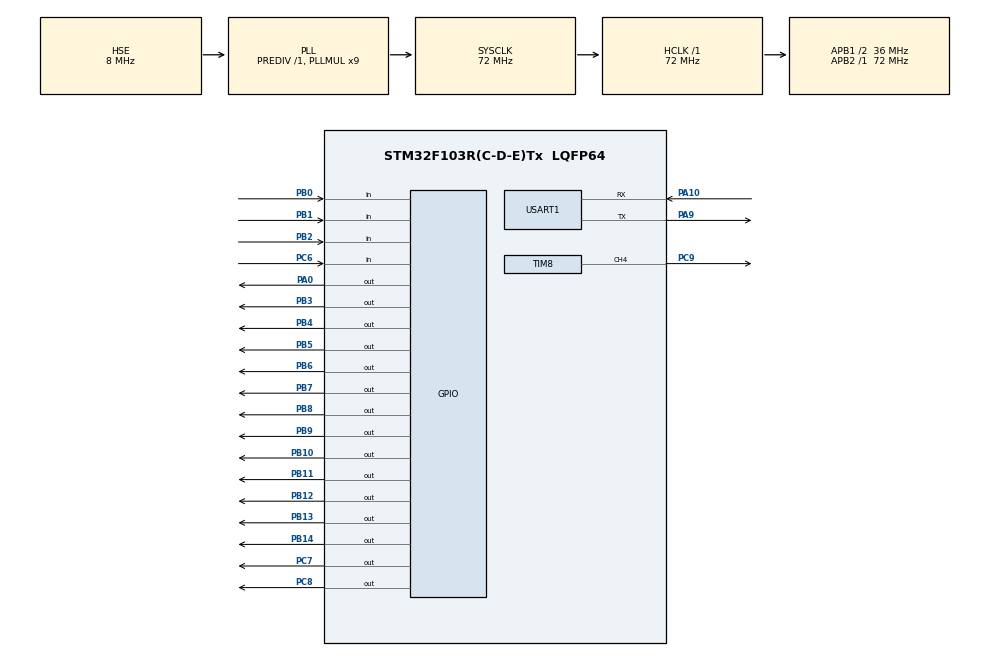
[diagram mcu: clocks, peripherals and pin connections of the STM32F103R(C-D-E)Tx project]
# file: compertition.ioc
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Mcu.Family=STM32F1
NVIC.TIM1_UP_IRQn=true\:0\:0\:false\:false\:true\:false\:false\:true
TIM8.Channel-PWM\ Generation4\ CH4=TIM_CHANNEL_4
PB11.Signal=GPIO_Output
PB13.Signal=GPIO_Output
RCC.SYSCLKSource=RCC_SYSCLKSOURCE_PLLCLK
ProjectManager.StackSize=0x400
VP_FREERTOS_VS_CMSIS_V2.Mode=CMSIS_V2
PD1-OSC_OUT.Signal=RCC_OSC_OUT
PB1.GPIO_PuPd=GPIO_PULLUP
RCC.HCLKFreq_Value=72000000
RCC.APB2TimFreq_Value=72000000
PB6.Signal=GPIO_Output
PC7.Signal=GPIO_Output
RCC.AHBFreq_Value=72000000
PA0-WKUP.GPIO_Speed=GPIO_SPEED_FREQ_HIGH
PB2.Signal=GPIO_Input
RCC.PLLMUL=RCC_PLL_MUL9
PC14-OSC32_IN.Mode=LSE-External-Oscillator
VP_SYS_VS_tim1.Mode=TIM1
PB7.Signal=GPIO_Output
PB2.GPIO_PuPd=GPIO_PULLUP
FREERTOS.configTOTAL_HEAP_SIZE=4096
Mcu.Package=LQFP64
PB9.Signal=GPIO_Output
PB1.Signal=GPIO_Input
SH.S_TIM8_CH4.0=TIM8_CH4,PWM Generation4 CH4
NVIC.TimeBase=TIM1_UP_IRQn
NVIC.TimeBaseIP=TIM1
PA10.Signal=USART1_RX
PC6.GPIO_PuPd=GPIO_PULLUP
TIM8.Prescaler=71
RCC.APB1TimFreq_Value=72000000
NVIC.USART1_IRQn=true\:0\:0\:false\:false\:true\:true\:true\:true
PB4.Signal=GPIO_Output
RCC.PLLSourceVirtual=RCC_PLLSOURCE_HSE
PC15-OSC32_OUT.Mode=LSE-External-Oscillator
FREERTOS.Tasks01=Task_center,24,128,Task_center_f,Default,NULL,Dynamic,NULL,NULL;Task_key_scan,8,128,Task_key_scan_f,Default,NULL,Dynamic,NULL,NULL;Task_NTC_scan,8,128,Task_NTC_scan_f,Default,NULL,Dynamic,NULL,NULL;Task_led,8,128,Task_led_f,Default,NULL,Dynamic,NULL,NULL;Task_display,8,128,Task_display_f,Default,NULL,Dynamic,NULL,NULL;Task_output,8,128,Task_output_f,Default,NULL,Dynamic,NULL,NULL
PD1-OSC_OUT.Mode=HSE-External-Oscillator
PA10.Mode=Asynchronous
PC8.Signal=GPIO_Output
PC6.Signal=GPIO_Input
PD0-OSC_IN.Signal=RCC_OSC_IN
RCC.APB1CLKDivider=RCC_HCLK_DIV2
PC14-OSC32_IN.Signal=RCC_OSC32_IN
VP_SYS_VS_ND.Mode=No_Debug
PA0-WKUP.Signal=GPIO_Output
RCC.ADCPresc=RCC_ADCPCLK2_DIV6
PA9.Mode=Asynchronous
ProjectManager.TargetToolchain=MDK-ARM V5.27
PA9.Signal=USART1_TX
RCC.USBFreq_Value=72000000
PC15-OSC32_OUT.Signal=RCC_OSC32_OUT
PD0-OSC_IN.Mode=HSE-External-Oscillator
PB10.Signal=GPIO_Output
PB14.Signal=GPIO_Output
board=custom
RCC.APB2Freq_Value=72000000
Mcu.Name=STM32F103R(C-D-E)Tx
TIM8.Period=999
PB3.Signal=GPIO_Output
RCC.SYSCLKFreq_VALUE=72000000
PB5.Signal=GPIO_Output
USART1.VirtualMode=VM_ASYNC
ProjectManager.HeapSize=0x200
NVIC.PriorityGroup=NVIC_PRIORITYGROUP_4
PB8.Signal=GPIO_Output
PA0-WKUP.GPIO_PuPd=GPIO_PULLUP
PC9.Signal=S_TIM8_CH4
RCC.APB1Freq_Value=36000000
PB0.Signal=GPIO_Input
PB12.Signal=GPIO_Output
PB0.GPIO_PuPd=GPIO_PULLUP

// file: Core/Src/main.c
/* USER CODE BEGIN Header */
/**
 ******************************************************************************
 * @file           : main.c
 * @brief          : Main program body
 ******************************************************************************
 * @attention
 *
 * <h2><center>&copy; Copyright (c) 2020 STMicroelectronics.
 * All rights reserved.</center></h2>
 *
 * This software component is licensed by ST under Ultimate Liberty license
 * SLA0044, the "License"; You may not use this file except in compliance with
 * the License. You may obtain a copy of the License at:
 *                             www.st.com/SLA0044
 *
 ******************************************************************************
 */
/* USER CODE END Header */
#include "main.h"

#include "cmsis_os.h"
#include "delay.h"
#include "display.h"
#include "ds18b20.h"
#include "stdio.h"

/* USER CODE BEGIN PD */
//#define DEBUG
/* USER CODE END PD */

TIM_HandleTypeDef htim8;

UART_HandleTypeDef huart1;

/* Definitions for Task_center */
osThreadId_t Task_centerHandle;
const osThreadAttr_t Task_center_attributes = {
    .name = "Task_center",
    .priority = (osPriority_t)osPriorityNormal,
    .stack_size = 128 * 4};
/* Definitions for Task_key_scan */
osThreadId_t Task_key_scanHandle;
const osThreadAttr_t Task_key_scan_attributes = {
    .name = "Task_key_scan",
    .priority = (osPriority_t)osPriorityLow,
    .stack_size = 128 * 4};
/* Definitions for Task_NTC_scan */
osThreadId_t Task_NTC_scanHandle;
const osThreadAttr_t Task_NTC_scan_attributes = {
    .name = "Task_NTC_scan",
    .priority = (osPriority_t)osPriorityLow,
    .stack_size = 128 * 4};
/* Definitions for Task_led */
osThreadId_t Task_ledHandle;
const osThreadAttr_t Task_led_attributes = {
    .name = "Task_led",
    .priority = (osPriority_t)osPriorityLow,
    .stack_size = 128 * 4};
/* Definitions for Task_display */
osThreadId_t Task_displayHandle;
const osThreadAttr_t Task_display_attributes = {
    .name = "Task_display",
    .priority = (osPriority_t)osPriorityLow,
    .stack_size = 128 * 4};
/* Definitions for Task_output */
osThreadId_t Task_outputHandle;
const osThreadAttr_t Task_output_attributes = {
    .name = "Task_output",
    .priority = (osPriority_t)osPriorityLow,
    .stack_size = 128 * 4};

void SystemClock_Config(void);
static void MX_GPIO_Init(void);
static void MX_USART1_UART_Init(void);
static void MX_TIM8_Init(void);
void Task_center_f(void *argument);
void Task_key_scan_f(void *argument);
void Task_NTC_scan_f(void *argument);
void Task_led_f(void *argument);
void Task_display_f(void *argument);
void Task_output_f(void *argument);

#ifdef DEBUG
int fputc(int ch, FILE *f) {
  uint8_t temp[1] = {ch};
  HAL_UART_Transmit(&huart1, temp, 1, 2);
  return 0;
}
#endif
int main(void) {

  /* MCU Configuration--------------------------------------------------------*/

  /* Reset of all peripherals, Initializes the Flash interface and the Systick.
   */
  HAL_Init();

  /* Configure the system clock */
  SystemClock_Config();

  /* Initialize all configured peripherals */
  MX_GPIO_Init();
  MX_USART1_UART_Init();
  MX_TIM8_Init();

  /* Init scheduler */
  osKernelInitialize();

  /* Create the thread(s) */
  /* creation of Task_center */
  Task_centerHandle = osThreadNew(Task_center_f, NULL, &Task_center_attributes);

  /* creation of Task_key_scan */
  Task_key_scanHandle =
      osThreadNew(Task_key_scan_f, NULL, &Task_key_scan_attributes);

  /* creation of Task_NTC_scan */
  Task_NTC_scanHandle =
      osThreadNew(Task_NTC_scan_f, NULL, &Task_NTC_scan_attributes);

  /* creation of Task_led */
  Task_ledHandle = osThreadNew(Task_led_f, NULL, &Task_led_attributes);

  /* creation of Task_display */
  Task_displayHandle =
      osThreadNew(Task_display_f, NULL, &Task_display_attributes);

  /* creation of Task_output */
  Task_outputHandle = osThreadNew(Task_output_f, NULL, &Task_output_attributes);

  /* Start scheduler */
  osKernelStart();

  /* We should never get here as control is now taken by the scheduler */
  /* Infinite loop */
  while (1) {

  }
}

void SystemClock_Config(void) {
  RCC_OscInitTypeDef RCC_OscInitStruct = {0};
  RCC_ClkInitTypeDef RCC_ClkInitStruct = {0};

  /** Initializes the RCC Oscillators according to the specified parameters
   * in the RCC_OscInitTypeDef structure.
   */
  RCC_OscInitStruct.OscillatorType = RCC_OSCILLATORTYPE_HSE;
  RCC_OscInitStruct.HSEState = RCC_HSE_ON;
  RCC_OscInitStruct.HSEPredivValue = RCC_HSE_PREDIV_DIV1;
  RCC_OscInitStruct.HSIState = RCC_HSI_ON;
  RCC_OscInitStruct.PLL.PLLState = RCC_PLL_ON;
  RCC_OscInitStruct.PLL.PLLSource = RCC_PLLSOURCE_HSE;
  RCC_OscInitStruct.PLL.PLLMUL = RCC_PLL_MUL9;
  if (HAL_RCC_OscConfig(&RCC_OscInitStruct) != HAL_OK) {
    Error_Handler();
  }
  /** Initializes the CPU, AHB and APB buses clocks
   */
  RCC_ClkInitStruct.ClockType = RCC_CLOCKTYPE_HCLK | RCC_CLOCKTYPE_SYSCLK |
                                RCC_CLOCKTYPE_PCLK1 | RCC_CLOCKTYPE_PCLK2;
  RCC_ClkInitStruct.SYSCLKSource = RCC_SYSCLKSOURCE_PLLCLK;
  RCC_ClkInitStruct.AHBCLKDivider = RCC_SYSCLK_DIV1;
  RCC_ClkInitStruct.APB1CLKDivider = RCC_HCLK_DIV2;
  RCC_ClkInitStruct.APB2CLKDivider = RCC_HCLK_DIV1;

  if (HAL_RCC_ClockConfig(&RCC_ClkInitStruct, FLASH_LATENCY_2) != HAL_OK) {
    Error_Handler();
  }
}

static void MX_TIM8_Init(void) {

  TIM_MasterConfigTypeDef sMasterConfig = {0};
  TIM_OC_InitTypeDef sConfigOC = {0};
  TIM_BreakDeadTimeConfigTypeDef sBreakDeadTimeConfig = {0};

  htim8.Instance = TIM8;
  htim8.Init.Prescaler = 71;
  htim8.Init.CounterMode = TIM_COUNTERMODE_UP;
  htim8.Init.Period = 999;
  htim8.Init.ClockDivision = TIM_CLOCKDIVISION_DIV1;
  htim8.Init.RepetitionCounter = 0;
  htim8.Init.AutoReloadPreload = TIM_AUTORELOAD_PRELOAD_DISABLE;
  if (HAL_TIM_PWM_Init(&htim8) != HAL_OK) {
    Error_Handler();
  }
  sMasterConfig.MasterOutputTrigger = TIM_TRGO_RESET;
  sMasterConfig.MasterSlaveMode = TIM_MASTERSLAVEMODE_DISABLE;
  if (HAL_TIMEx_MasterConfigSynchronization(&htim8, &sMasterConfig) != HAL_OK) {
    Error_Handler();
  }
  sConfigOC.OCMode = TIM_OCMODE_PWM1;
  sConfigOC.Pulse = 0;
  sConfigOC.OCPolarity = TIM_OCPOLARITY_HIGH;
  sConfigOC.OCFastMode = TIM_OCFAST_DISABLE;
  sConfigOC.OCIdleState = TIM_OCIDLESTATE_RESET;
  sConfigOC.OCNIdleState = TIM_OCNIDLESTATE_RESET;
  if (HAL_TIM_PWM_ConfigChannel(&htim8, &sConfigOC, TIM_CHANNEL_4) != HAL_OK) {
    Error_Handler();
  }
  sBreakDeadTimeConfig.OffStateRunMode = TIM_OSSR_DISABLE;
  sBreakDeadTimeConfig.OffStateIDLEMode = TIM_OSSI_DISABLE;
  sBreakDeadTimeConfig.LockLevel = TIM_LOCKLEVEL_OFF;
  sBreakDeadTimeConfig.DeadTime = 0;
  sBreakDeadTimeConfig.BreakState = TIM_BREAK_DISABLE;
  sBreakDeadTimeConfig.BreakPolarity = TIM_BREAKPOLARITY_HIGH;
  sBreakDeadTimeConfig.AutomaticOutput = TIM_AUTOMATICOUTPUT_DISABLE;
  if (HAL_TIMEx_ConfigBreakDeadTime(&htim8, &sBreakDeadTimeConfig) != HAL_OK) {
    Error_Handler();
  }
  HAL_TIM_MspPostInit(&htim8);
}

static void MX_USART1_UART_Init(void) {

  huart1.Instance = USART1;
  huart1.Init.BaudRate = 115200;
  huart1.Init.WordLength = UART_WORDLENGTH_8B;
  huart1.Init.StopBits = UART_STOPBITS_1;
  huart1.Init.Parity = UART_PARITY_NONE;
  huart1.Init.Mode = UART_MODE_TX_RX;
  huart1.Init.HwFlowCtl = UART_HWCONTROL_NONE;
  huart1.Init.OverSampling = UART_OVERSAMPLING_16;
  if (HAL_UART_Init(&huart1) != HAL_OK) {
    Error_Handler();
  }
}

static void MX_GPIO_Init(void) {
  GPIO_InitTypeDef GPIO_InitStruct = {0};

  /* GPIO Ports Clock Enable */
  __HAL_RCC_GPIOC_CLK_ENABLE();
  __HAL_RCC_GPIOD_CLK_ENABLE();
  __HAL_RCC_GPIOA_CLK_ENABLE();
  __HAL_RCC_GPIOB_CLK_ENABLE();

  /*Configure GPIO pin Output Level */
  HAL_GPIO_WritePin(GPIOA, GPIO_PIN_0, GPIO_PIN_RESET);

  /*Configure GPIO pin Output Level */
  HAL_GPIO_WritePin(GPIOB,
                    GPIO_PIN_10 | GPIO_PIN_11 | GPIO_PIN_12 | GPIO_PIN_13 |
                        GPIO_PIN_14 | GPIO_PIN_3 | GPIO_PIN_4 | GPIO_PIN_5 |
                        GPIO_PIN_6 | GPIO_PIN_7 | GPIO_PIN_8 | GPIO_PIN_9,
                    GPIO_PIN_RESET);

  /*Configure GPIO pin Output Level */
  HAL_GPIO_WritePin(GPIOC, GPIO_PIN_7 | GPIO_PIN_8, GPIO_PIN_RESET);

  /*Configure GPIO pin : PA0 */
  GPIO_InitStruct.Pin = GPIO_PIN_0;
  GPIO_InitStruct.Mode = GPIO_MODE_OUTPUT_PP;
  GPIO_InitStruct.Pull = GPIO_PULLUP;
  GPIO_InitStruct.Speed = GPIO_SPEED_FREQ_HIGH;
  HAL_GPIO_Init(GPIOA, &GPIO_InitStruct);

  /*Configure GPIO pins : PB0 PB1 PB2 */
  GPIO_InitStruct.Pin = GPIO_PIN_0 | GPIO_PIN_1 | GPIO_PIN_2;
  GPIO_InitStruct.Mode = GPIO_MODE_INPUT;
  GPIO_InitStruct.Pull = GPIO_PULLUP;
  HAL_GPIO_Init(GPIOB, &GPIO_InitStruct);

  /*Configure GPIO pins : PB10 PB11 PB12 PB13
                           PB14 PB3 PB4 PB5
                           PB6 PB7 PB8 PB9 */
  GPIO_InitStruct.Pin = GPIO_PIN_10 | GPIO_PIN_11 | GPIO_PIN_12 | GPIO_PIN_13 |
                        GPIO_PIN_14 | GPIO_PIN_3 | GPIO_PIN_4 | GPIO_PIN_5 |
                        GPIO_PIN_6 | GPIO_PIN_7 | GPIO_PIN_8 | GPIO_PIN_9;
  GPIO_InitStruct.Mode = GPIO_MODE_OUTPUT_PP;
  GPIO_InitStruct.Pull = GPIO_NOPULL;
  GPIO_InitStruct.Speed = GPIO_SPEED_FREQ_LOW;
  HAL_GPIO_Init(GPIOB, &GPIO_InitStruct);

  /*Configure GPIO pin : PC6 */
  GPIO_InitStruct.Pin = GPIO_PIN_6;
  GPIO_InitStruct.Mode = GPIO_MODE_INPUT;
  GPIO_InitStruct.Pull = GPIO_PULLUP;
  HAL_GPIO_Init(GPIOC, &GPIO_InitStruct);

  /*Configure GPIO pins : PC7 PC8 */
  GPIO_InitStruct.Pin = GPIO_PIN_7 | GPIO_PIN_8;
  GPIO_InitStruct.Mode = GPIO_MODE_OUTPUT_PP;
  GPIO_InitStruct.Pull = GPIO_NOPULL;
  GPIO_InitStruct.Speed = GPIO_SPEED_FREQ_LOW;
  HAL_GPIO_Init(GPIOC, &GPIO_InitStruct);
}

data_t data;
void Task_center_f(void *argument) {
  /* USER CODE BEGIN 5 */
  osKernelLock();
#ifdef DEBUG
  printf("center initing..\r\n");
#endif
  uint32_t time = 0;
  data.mode = relax_mode;
  data.timing_mode = zero;
  data.display_mode = work;
  data.key = key_work_mode;
  data.key_sign = 0;
  osKernelUnlock();
  /* Infinite loop */
  while (1) {
#ifdef DEBUG
    if (data.timing_mode != zero) printf("%d\r\n", time / 1000);
#endif
    uint32_t tick = osKernelGetTickCount();
    if (data.timing_mode != zero && time <= 0) {
      data.timing_mode = zero;
      data.mode = relax_mode;
    }
    if (time > 0) time -= 20;
    if (data.key_sign) /* 有按键按下 */
    {
      data.key_sign = 0;
      switch (data.key) {
        case key_work_mode:
          if (data.timing_mode != zero) switch (data.mode) {
              case relax_mode:
                data.mode = sleep_mode;
                break;
              case sleep_mode:
                data.mode = nature_mode;
                break;
              case nature_mode:
                data.mode = common_mode;
                break;
              case common_mode:
                data.mode = sleep_mode;
                break;
            }
          break;
        case key_stop:
          data.mode = relax_mode;
          data.timing_mode = zero;
          break;
        case key_show:
          switch (data.display_mode) {
            case work:
              data.display_mode = temperature;
              break;
            case temperature:
              data.display_mode = work;
              break;
          }
          break;
        case key_timing_mode:
          data.display_mode = work;
          switch (data.timing_mode) {
            case zero:
              data.timing_mode = one;
              time = 1000 * 60;
              if (data.mode == relax_mode) data.mode = sleep_mode;
#ifdef DEBUG
              printf("zero\r\n");
#endif
              break;
            case one:
              data.timing_mode = two;
#ifdef DEBUG
              printf("one\r\n");
#endif
              if (data.mode == relax_mode) data.mode = sleep_mode;
              time = 2000 * 60;
              break;
            case two:
              data.timing_mode = zero;
#ifdef DEBUG
              printf("two\r\n");
#endif
              if (data.mode != relax_mode) data.mode = relax_mode;
              time = 0;
              break;
          }
          break;
      };
    }
    switch (data.mode) {
      case relax_mode:
        data.pwm = 0;
        data.led1 = 0;
        data.led2 = 0;
        data.led3 = 0;
        break;
      case sleep_mode:
        data.pwm = 200;
        data.led1 = 1;
        data.led2 = 0;
        data.led3 = 0;
        break;
      case nature_mode:
        data.pwm = 300;
        data.led1 = 0;
        data.led2 = 1;
        data.led3 = 0;
        break;
      case common_mode:
        data.pwm = 700;
        data.led1 = 0;
        data.led2 = 0;
        data.led3 = 1;
        break;
    }
    if (data.display_mode == work) {
      switch (data.mode)  //工作模式选择
      {
        case relax_mode:
          data.display.a = 'r';
          data.display.b = 'r';
          data.display.c = 'r';
          data.display.d = 'r';
          data.display.e = 'r';
          data.display.f = 'r';
          data.display.g = 'r';
          data.display.h = 'r';
          break;
        case sleep_mode:  //工作模式为睡眠风
          data.display.a = '-';
          data.display.b = '1';
          data.display.c = '-';
          data.display.d = 'r';
          data.display.e = '0';
          data.display.f = ((time / 100000) % 10) + 48;
          data.display.g = ((time / 10000) % 10) + 48;
          data.display.h = ((time / 1000) % 10) + 48;
          break;
        case nature_mode:  //工作模式为自然风
          data.display.a = '-';
          data.display.b = '2';
          data.display.c = '-';
          data.display.d = 'r';
          data.display.e = '0';
          data.display.f = ((time / 100000) % 10) + 48;
          data.display.g = ((time / 10000) % 10) + 48;
          data.display.h = ((time / 1000) % 10) + 48;
          break;
        case common_mode:  //工作模式为常风
          data.display.a = '-';
          data.display.b = '3';
          data.display.c = '-';
          data.display.d = 'r';
          data.display.e = '0';
          data.display.f = ((time / 100000) % 10) + 48;
          data.display.g = ((time / 10000) % 10) + 48;
          data.display.h = ((time / 1000) % 10) + 48;
          break;
      }
    }
    if (data.display_mode == temperature) {
      data.display.a = '-';
      data.display.b = '4';
      data.display.c = '-';
      data.display.d = 'r';
      data.display.e = 'r';
      data.display.f = ((data.ntc / 100) % 10) + 48;
      data.display.g = ((data.ntc / 10) % 10) + 48;
      data.display.h = 'c';
    }
    tick += 20;
    osDelayUntil(tick);
  }
  /* USER CODE END 5 */
}

void Task_key_scan_f(void *argument) {
/* USER CODE BEGIN Task_key_scan_f */
#ifdef DEBUG
  osKernelLock();
  printf("key scan initing..\r\n");
  osKernelUnlock();
#endif
  uint32_t tick = osKernelGetTickCount();
  int sign1 = 0, sign2 = 0, sign3 = 0, sign4 = 0, a;
  /* Infinite loop */
  while (1) {
    a = HAL_GPIO_ReadPin(GPIOB, GPIO_PIN_2);
    if (a && sign1 > 0) sign1--;
    if (!a && sign1 == 0) {
      data.key = key_work_mode;
      sign1 = 30;
      data.key_sign++;
#ifdef DEBUG
      printf("input\r\n");
#endif
    }
    a = HAL_GPIO_ReadPin(GPIOB, GPIO_PIN_1);
    if (a && sign2 > 0) sign2--;
    if (!a && sign2 == 0) {
      data.key = key_timing_mode;
      sign2 = 30;
      data.key_sign++;
#ifdef DEBUG
      printf("input\r\n");
#endif
    }
    a = HAL_GPIO_ReadPin(GPIOB, GPIO_PIN_0);
    if (a && sign3 > 0) sign3--;
    if (!a && sign3 == 0) {
      data.key = key_stop;
      sign3 = 30;
      data.key_sign++;
#ifdef DEBUG
      printf("input\r\n");
#endif
    }
    a = HAL_GPIO_ReadPin(GPIOC, GPIO_PIN_6);
    if (a && sign4 > 0) sign4--;
    if (!a && sign4 == 0) {
      data.key = key_show;
      sign4 = 30;
      data.key_sign++;
#ifdef DEBUG
      printf("input\r\n");
#endif
    }
    tick += 3;
    osDelayUntil(tick);
  }
  /* USER CODE END Task_key_scan_f */
}

void Task_NTC_scan_f(void *argument) {
  /* USER CODE BEGIN Task_NTC_scan_f */
  delay_init(72);
#ifdef DEBUG
  osKernelLock();
  printf("NTC scan initing..\r\n");
  osKernelUnlock();
#endif
  uint32_t tick = osKernelGetTickCount();
  /* Infinite loop */
  while (1) {
    data.ntc = DS18B20_Get_Temp();
    tick += 40;
    osDelayUntil(tick);
  }
  /* USER CODE END Task_NTC_scan_f */
}

void Task_led_f(void *argument) {
/* USER CODE BEGIN Task_led_f */
#ifdef DEBUG
  osKernelLock();
  printf("led initing..\r\n");
  osKernelUnlock();
#endif
  uint32_t tick = osKernelGetTickCount();
  /* Infinite loop */
  while (1) {
    if (data.led1)
      HAL_GPIO_WritePin(GPIOB, GPIO_PIN_14, GPIO_PIN_RESET);
    else
      HAL_GPIO_WritePin(GPIOB, GPIO_PIN_14, GPIO_PIN_SET);
    if (data.led2)
      HAL_GPIO_WritePin(GPIOC, GPIO_PIN_8, GPIO_PIN_RESET);
    else
      HAL_GPIO_WritePin(GPIOC, GPIO_PIN_8, GPIO_PIN_SET);
    if (data.led3)
      HAL_GPIO_WritePin(GPIOC, GPIO_PIN_7, GPIO_PIN_RESET);
    else
      HAL_GPIO_WritePin(GPIOC, GPIO_PIN_7, GPIO_PIN_SET);
    tick += 20;
    osDelayUntil(tick);
  }
  /* USER CODE END Task_led_f */
}

void Task_display_f(void *argument) {
/* USER CODE BEGIN Task_display_f */
#ifdef DEBUG
  osKernelLock();
  printf("display initing..\r\n");
  osKernelUnlock();
#endif
  uint32_t tick = osKernelGetTickCount();
  /* Infinite loop */
  uint8_t sum = 0;
  while (1) {
    switch (sum) {
      case 0:
        Smg_Select('a', data.display.a);
        break;
      case 1:
        Smg_Select('b', data.display.b);
        break;
      case 2:
        Smg_Select('c', data.display.c);
        break;
      case 3:
        Smg_Select('d', data.display.d);
        break;
      case 4:
        Smg_Select('e', data.display.e);
        break;
      case 5:
        Smg_Select('f', data.display.f);
        break;
      case 6:
        Smg_Select('g', data.display.g);
        break;
      case 7:
        Smg_Select('h', data.display.h);
        break;
      default:
        Smg_Select('a', data.display.a);
        sum = 0;
        break;
    }
    sum++;
    tick += 2;
    osDelayUntil(tick);
  }
  /* USER CODE END Task_display_f */
}

void Task_output_f(void *argument) {
/* USER CODE BEGIN Task_output_f */
#ifdef DEBUG
  osKernelLock();
  printf("output initing..\r\n");
  osKernelUnlock();
#endif
  HAL_TIM_PWM_Start(&htim8, TIM_CHANNEL_4);
  uint32_t tick = osKernelGetTickCount();
  /* Infinite loop */
  uint16_t pwm = 0;
  while (1) {
    if (pwm != data.pwm) {
      pwm = data.pwm;
      __HAL_TIM_SET_COMPARE(&htim8, TIM_CHANNEL_4, pwm);
    }
    tick += 20;
    osDelayUntil(tick);
  }
  /* USER CODE END Task_output_f */
}

void HAL_TIM_PeriodElapsedCallback(TIM_HandleTypeDef *htim) {
  if (htim->Instance == TIM1) {
    HAL_IncTick();
  }
}

void Error_Handler(void) {
}

#ifdef USE_FULL_ASSERT
/**
 * @brief  Reports the name of the source file and the source line number
 *         where the assert_param error has occurred.
 * @param  file: pointer to the source file name
 * @param  line: assert_param error line source number
 * @retval None
 */
void assert_failed(uint8_t *file, uint32_t line) {
  /* USER CODE BEGIN 6 */
  /* User can add his own implementation to report the file name and line
     number,
     tex: printf("Wrong parameters value: file %s on line %d\r\n", file, line)
   */
  /* USER CODE END 6 */
}
#endif /* USE_FULL_ASSERT */

/************************ (C) COPYRIGHT STMicroelectronics *****END OF FILE****/
